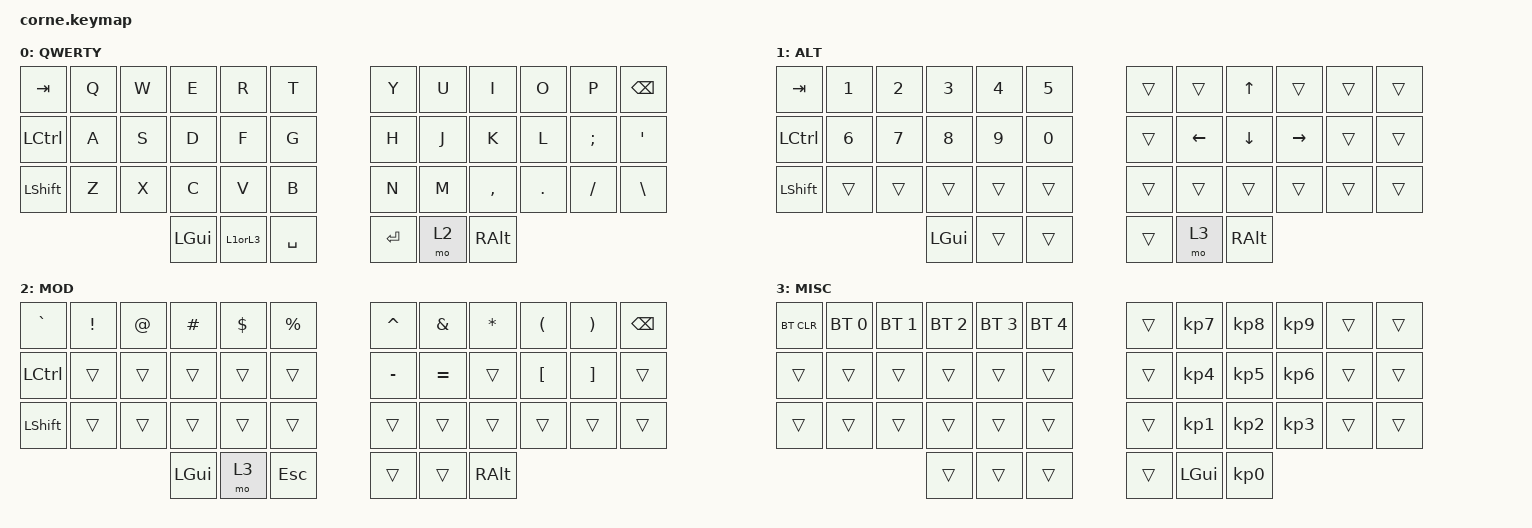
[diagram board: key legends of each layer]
#include <behaviors.dtsi>
#include <dt-bindings/zmk/bt.h>
#include <dt-bindings/zmk/keys.h>

/ {
    conditional_layers { compatible = "zmk,conditional-layers"; };

    behaviors {
        L1orL3: L1orL3 {
            compatible = "zmk,behavior-tap-dance";
            label = "L1ORL3";
            #binding-cells = <0>;
            bindings = <&mo 1>, <&mo 3>;
        };
    };

    keymap {
        compatible = "zmk,keymap";

        default_layer {
            display-name = "QWERTY";
            bindings = <
&kp TAB    &kp Q  &kp W  &kp E     &kp R    &kp T        &kp Y    &kp U  &kp I      &kp O    &kp P     &kp BACKSPACE
&kp LCTRL  &kp A  &kp S  &kp D     &kp F    &kp G        &kp H    &kp J  &kp K      &kp L    &kp SEMI  &kp SQT
&kp LSHFT  &kp Z  &kp X  &kp C     &kp V    &kp B        &kp N    &kp M  &kp COMMA  &kp DOT  &kp FSLH  &kp BACKSLASH
                         &kp LGUI  &L1orL3  &kp SPACE    &kp RET  &mo 2  &kp RALT
            >;
        };

        lower_layer {
            display-name = "ALT";
            bindings = <
&kp TAB    &kp N1  &kp N2  &kp N3    &kp N4  &kp N5    &trans  &trans    &kp UP    &trans     &trans  &trans
&kp LCTRL  &kp N6  &kp N7  &kp N8    &kp N9  &kp N0    &trans  &kp LEFT  &kp DOWN  &kp RIGHT  &trans  &trans
&kp LSHFT  &trans  &trans  &trans    &trans  &trans    &trans  &trans    &trans    &trans     &trans  &trans
                           &kp LGUI  &trans  &trans    &trans  &mo 3     &kp RALT
            >;
        };

        raise_layer {
            display-name = "MOD";
            bindings = <
&kp GRAVE  &kp EXCL  &kp AT  &kp HASH  &kp DLLR  &kp PRCNT     &kp CARET  &kp AMPS   &kp ASTRK  &kp LPAR          &kp RPAR           &kp BSPC
&kp LCTRL  &trans    &trans  &trans    &trans    &trans        &kp MINUS  &kp EQUAL  &trans     &kp LEFT_BRACKET  &kp RIGHT_BRACKET  &trans
&kp LSHFT  &trans    &trans  &trans    &trans    &trans        &trans     &trans     &trans     &trans            &trans             &trans
                             &kp LGUI  &mo 3     &kp ESCAPE    &trans     &trans     &kp RALT
            >;
        };

        adjust_layer {
            display-name = "MISC";
            bindings = <
&bt BT_CLR  &bt BT_SEL 0  &bt BT_SEL 1  &bt BT_SEL 2  &bt BT_SEL 3  &bt BT_SEL 4    &trans  &kp KP_NUMBER_7  &kp KP_NUMBER_8  &kp KP_NUMBER_9  &trans  &trans
&trans      &trans        &trans        &trans        &trans        &trans          &trans  &kp KP_NUMBER_4  &kp KP_NUMBER_5  &kp KP_NUMBER_6  &trans  &trans
&trans      &trans        &trans        &trans        &trans        &trans          &trans  &kp KP_NUMBER_1  &kp KP_NUMBER_2  &kp KP_NUMBER_3  &trans  &trans
                                        &trans        &trans        &trans          &trans  &kp LGUI         &kp KP_NUMBER_0
            >;
        };
    };
};
